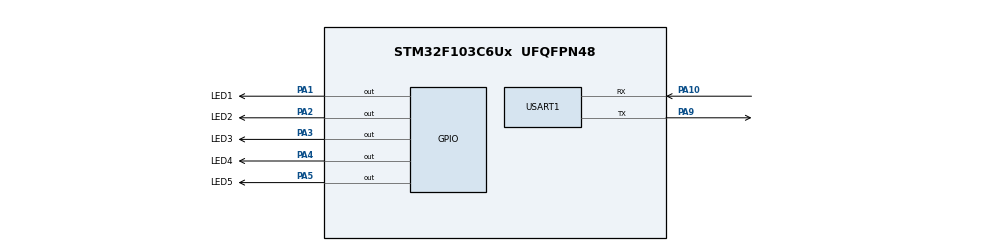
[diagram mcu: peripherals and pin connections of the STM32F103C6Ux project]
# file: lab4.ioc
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Mcu.Family=STM32F1
Mcu.Name=STM32F103C6Ux
Mcu.Package=UFQFPN48
NVIC.PriorityGroup=NVIC_PRIORITYGROUP_4
NVIC.TIM2_IRQn=true\:0\:0\:false\:false\:true\:true\:true
PA1.GPIO_Label=LED1
PA1.Signal=GPIO_Output
PA10.Mode=Asynchronous
PA10.Signal=USART1_RX
PA2.GPIO_Label=LED2
PA2.Signal=GPIO_Output
PA3.GPIO_Label=LED3
PA3.Signal=GPIO_Output
PA4.GPIO_Label=LED4
PA4.Signal=GPIO_Output
PA5.GPIO_Label=LED5
PA5.Signal=GPIO_Output
PA9.Mode=Asynchronous
PA9.Signal=USART1_TX
ProjectManager.HeapSize=0x200
ProjectManager.StackSize=0x400
ProjectManager.TargetToolchain=STM32CubeIDE
RCC.APB1Freq_Value=8000000
RCC.APB2Freq_Value=8000000
TIM2.Period=9
TIM2.Prescaler=7999
USART1.VirtualMode=VM_ASYNC
VP_SYS_VS_ND.Mode=No_Debug
VP_TIM2_VS_ClockSourceINT.Mode=Internal
board=custom

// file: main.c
/* USER CODE BEGIN Header */
/**
  ******************************************************************************
  * @file           : main.c
  * @brief          : Main program body
  ******************************************************************************
  * @attention
  *
  * Copyright (c) 2026 STMicroelectronics.
  * All rights reserved.
  *
  * This software is licensed under terms that can be found in the LICENSE file
  * in the root directory of this software component.
  * If no license/agreement was provided, with this software, the code will
  * be found in the LICENSE file.
  *
  * This software is licensed under the implementation of Lab 4 HCMUT.
  ******************************************************************************
  */
/* USER CODE END Header */
#include "main.h"

/* USER CODE BEGIN Includes */
#include <stdio.h>
#include "scheduler.h"
/* USER CODE END Includes */

/* USER CODE BEGIN PD */
// Period (ms) of the timestamp callback. Demo requires 10 ms.
// Change to 500 if the terminal scrolls too fast to read.
#define CALLBACK_PERIOD_MS  10
/* USER CODE END PD */

TIM_HandleTypeDef htim2;

UART_HandleTypeDef huart1;

/* USER CODE BEGIN PV */
// Time (ms) counted by the scheduler tick (TIM2, 10 ms per tick)
volatile uint32_t sch_time_ms = 0;
/* USER CODE END PV */

void SystemClock_Config(void);
static void MX_GPIO_Init(void);
static void MX_TIM2_Init(void);
static void MX_USART1_UART_Init(void);

/* USER CODE BEGIN 0 */
// Returns the current time in ms (accurate to the 10 ms tick)
uint32_t get_time(void) {
    return sch_time_ms;
}

// ---- 5 LED tasks: 0.5s, 1s, 1.5s, 2s, 2.5s ----
void Task_0_5s(void) { HAL_GPIO_TogglePin(LED1_GPIO_Port, LED1_Pin); }
void Task_1_0s(void) { HAL_GPIO_TogglePin(LED2_GPIO_Port, LED2_Pin); }
void Task_1_5s(void) { HAL_GPIO_TogglePin(LED3_GPIO_Port, LED3_Pin); }
void Task_2_0s(void) { HAL_GPIO_TogglePin(LED4_GPIO_Port, LED4_Pin); }
void Task_2_5s(void) { HAL_GPIO_TogglePin(LED5_GPIO_Port, LED5_Pin); }

// ---- Timestamp callbacks ----
// Fires every CALLBACK_PERIOD_MS (10 ms) and prints get_time()
void Task_10ms(void) {
    printf("[10ms]  t = %lu ms\r\n", (unsigned long)get_time());
}

// Second timeout with a different interval (500 ms), running concurrently
void Task_500ms(void) {
    printf("[500ms] t = %lu ms\r\n", (unsigned long)get_time());
}

// One-shot callbacks registered before the main loop; print time when delay expires
void Task_Wake1(void) {
    printf("[wake1] fired at t = %lu ms\r\n", (unsigned long)get_time());
}
void Task_Wake2(void) {
    printf("[wake2] fired at t = %lu ms\r\n", (unsigned long)get_time());
}
void Task_Wake3(void) {
    printf("[wake3] fired at t = %lu ms\r\n", (unsigned long)get_time());
}

void HAL_TIM_PeriodElapsedCallback(TIM_HandleTypeDef *htim) {
    if (htim->Instance == TIM2) {
        sch_time_ms += TICK;
        SCH_Update();
    }
}
/* USER CODE END 0 */

int main(void)
{

  /* MCU Configuration--------------------------------------------------------*/

  /* Reset of all peripherals, Initializes the Flash interface and the Systick. */
  HAL_Init();

  /* Configure the system clock */
  SystemClock_Config();

  /* Initialize all configured peripherals */
  MX_GPIO_Init();
  MX_TIM2_Init();
  MX_USART1_UART_Init();
  /* USER CODE BEGIN 2 */
  // Init scheduler BEFORE starting the timer interrupt
  SCH_Init();

  // 5 periodic LED tasks (initial delays staggered to avoid overlap)
  SCH_Add_Task(Task_0_5s, 0, 500);
  SCH_Add_Task(Task_1_0s, 10, 1000);
  SCH_Add_Task(Task_1_5s, 20, 1500);
  SCH_Add_Task(Task_2_0s, 30, 2000);
  SCH_Add_Task(Task_2_5s, 40, 2500);

  // Timeout 1: callback every 10 ms, prints get_time()
  SCH_Add_Task(Task_10ms, 50, CALLBACK_PERIOD_MS);

  // Timeout 2: different interval (500 ms), running concurrently
  SCH_Add_Task(Task_500ms, 60, 500);

  // One-shot calls set up BEFORE entering the main loop.
  // Delays (1 s, 2 s, 3 s) are long enough that the loop is entered first.
  SCH_Add_Task(Task_Wake1, 1000, 0);
  SCH_Add_Task(Task_Wake2, 2000, 0);
  SCH_Add_Task(Task_Wake3, 3000, 0);

  HAL_TIM_Base_Start_IT(&htim2);
  /* USER CODE END 2 */

  /* Infinite loop */
  while (1)
  {

    /* USER CODE BEGIN 3 */
    SCH_Dispatch_Tasks();
  }
  /* USER CODE END 3 */
}

void SystemClock_Config(void)
{
  RCC_OscInitTypeDef RCC_OscInitStruct = {0};
  RCC_ClkInitTypeDef RCC_ClkInitStruct = {0};

  /** Initializes the RCC Oscillators according to the specified parameters
  * in the RCC_OscInitTypeDef structure.
  */
  RCC_OscInitStruct.OscillatorType = RCC_OSCILLATORTYPE_HSI;
  RCC_OscInitStruct.HSIState = RCC_HSI_ON;
  RCC_OscInitStruct.HSICalibrationValue = RCC_HSICALIBRATION_DEFAULT;
  RCC_OscInitStruct.PLL.PLLState = RCC_PLL_NONE;
  if (HAL_RCC_OscConfig(&RCC_OscInitStruct) != HAL_OK)
  {
    Error_Handler();
  }
  /** Initializes the CPU, AHB and APB buses clocks
  */
  RCC_ClkInitStruct.ClockType = RCC_CLOCKTYPE_HCLK|RCC_CLOCKTYPE_SYSCLK
                              |RCC_CLOCKTYPE_PCLK1|RCC_CLOCKTYPE_PCLK2;
  RCC_ClkInitStruct.SYSCLKSource = RCC_SYSCLKSOURCE_HSI;
  RCC_ClkInitStruct.AHBCLKDivider = RCC_SYSCLK_DIV1;
  RCC_ClkInitStruct.APB1CLKDivider = RCC_HCLK_DIV1;
  RCC_ClkInitStruct.APB2CLKDivider = RCC_HCLK_DIV1;

  if (HAL_RCC_ClockConfig(&RCC_ClkInitStruct, FLASH_LATENCY_0) != HAL_OK)
  {
    Error_Handler();
  }
}

static void MX_TIM2_Init(void)
{

  TIM_ClockConfigTypeDef sClockSourceConfig = {0};
  TIM_MasterConfigTypeDef sMasterConfig = {0};

  htim2.Instance = TIM2;
  htim2.Init.Prescaler = 7999;
  htim2.Init.CounterMode = TIM_COUNTERMODE_UP;
  htim2.Init.Period = 9;
  htim2.Init.ClockDivision = TIM_CLOCKDIVISION_DIV1;
  htim2.Init.AutoReloadPreload = TIM_AUTORELOAD_PRELOAD_DISABLE;
  if (HAL_TIM_Base_Init(&htim2) != HAL_OK)
  {
    Error_Handler();
  }
  sClockSourceConfig.ClockSource = TIM_CLOCKSOURCE_INTERNAL;
  if (HAL_TIM_ConfigClockSource(&htim2, &sClockSourceConfig) != HAL_OK)
  {
    Error_Handler();
  }
  sMasterConfig.MasterOutputTrigger = TIM_TRGO_RESET;
  sMasterConfig.MasterSlaveMode = TIM_MASTERSLAVEMODE_DISABLE;
  if (HAL_TIMEx_MasterConfigSynchronization(&htim2, &sMasterConfig) != HAL_OK)
  {
    Error_Handler();
  }

}

static void MX_USART1_UART_Init(void)
{

  huart1.Instance = USART1;
  huart1.Init.BaudRate = 115200;
  huart1.Init.WordLength = UART_WORDLENGTH_8B;
  huart1.Init.StopBits = UART_STOPBITS_1;
  huart1.Init.Parity = UART_PARITY_NONE;
  huart1.Init.Mode = UART_MODE_TX_RX;
  huart1.Init.HwFlowCtl = UART_HWCONTROL_NONE;
  huart1.Init.OverSampling = UART_OVERSAMPLING_16;
  if (HAL_UART_Init(&huart1) != HAL_OK)
  {
    Error_Handler();
  }

}

static void MX_GPIO_Init(void)
{
  GPIO_InitTypeDef GPIO_InitStruct = {0};

  /* GPIO Ports Clock Enable */
  __HAL_RCC_GPIOA_CLK_ENABLE();

  /*Configure GPIO pin Output Level */
  HAL_GPIO_WritePin(GPIOA, LED1_Pin|LED2_Pin|LED3_Pin|LED4_Pin
                          |LED5_Pin, GPIO_PIN_RESET);

  /*Configure GPIO pins : LED1_Pin LED2_Pin LED3_Pin LED4_Pin
                           LED5_Pin */
  GPIO_InitStruct.Pin = LED1_Pin|LED2_Pin|LED3_Pin|LED4_Pin
                          |LED5_Pin;
  GPIO_InitStruct.Mode = GPIO_MODE_OUTPUT_PP;
  GPIO_InitStruct.Pull = GPIO_NOPULL;
  GPIO_InitStruct.Speed = GPIO_SPEED_FREQ_LOW;
  HAL_GPIO_Init(GPIOA, &GPIO_InitStruct);

}

/* USER CODE BEGIN 4 */
// Redirect printf to UART1
#ifdef __GNUC__
#define PUTCHAR_PROTOTYPE int __io_putchar(int ch)
#else
#define PUTCHAR_PROTOTYPE int fputc(int ch, FILE *f)
#endif

PUTCHAR_PROTOTYPE {
    uint8_t c = (uint8_t)ch;
    HAL_UART_Transmit(&huart1, &c, 1, HAL_MAX_DELAY);
    return ch;
}

/* USER CODE END 4 */

void Error_Handler(void)
{
  __disable_irq();
  while (1)
  {
  }
}

/************************ (C) COPYRIGHT STMicroelectronics *****END OF FILE****/
